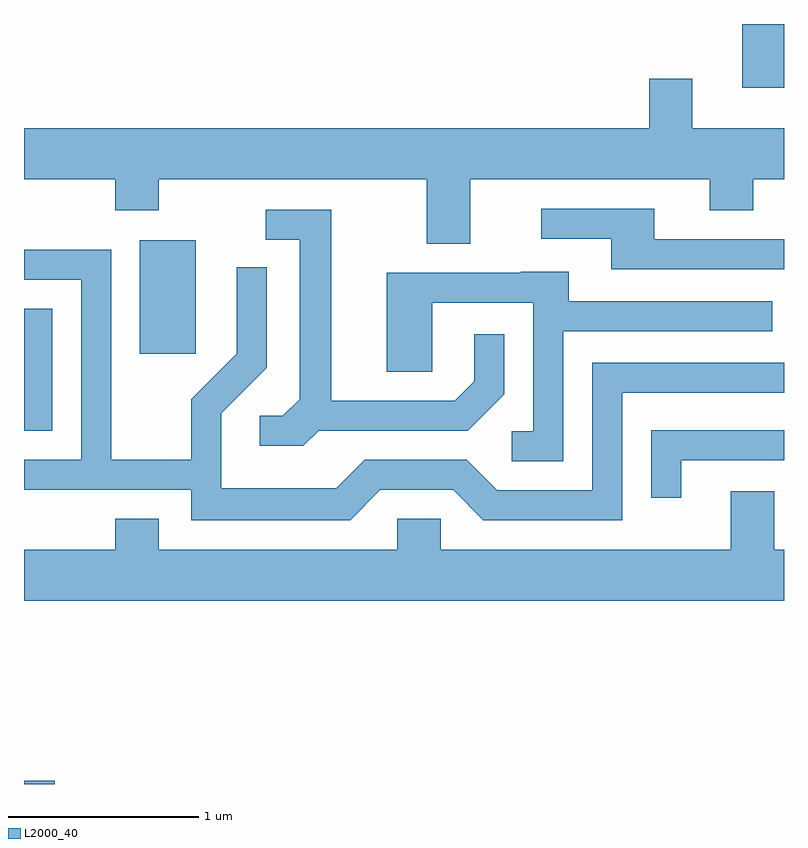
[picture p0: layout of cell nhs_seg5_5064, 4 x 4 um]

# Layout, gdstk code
import gdstk
lib = gdstk.Library(unit=1e-6, precision=1e-09)
def R(c, l, rs):  # rectangles x0, y0, x1, y1
    for r in rs: c.add(gdstk.rectangle(r[:2], r[2:], *l))
def P(c, l, *ps):  # polygons
    for p in ps: c.add(gdstk.Polygon(p, *l))
L2000_40 = (2000, 40)

nhs_seg5_5064 = lib.new_cell('nhs_seg5_5064')
R(nhs_seg5_5064, L2000_40, [(335.611,1438.072,335.774,1438.089), (335.611,1439.931,335.759,1440.574), (336.221,1440.336,336.514,1440.934), (339.391,1441.736,339.611,1442.072)])
P(nhs_seg5_5064, L2000_40, [(337.959,1441.256),(339.221,1441.256),(339.221,1441.091),(339.449,1441.091),(339.449,1441.256),(339.611,1441.256),(339.611,1441.524),(339.129,1441.524),(339.129,1441.784),(338.901,1441.784),(338.901,1441.524),(335.611,1441.524),(335.611,1441.256),(336.091,1441.256),(336.091,1441.091),(336.319,1441.091),(336.319,1441.256),(337.731,1441.256),(337.731,1440.916),(337.959,1440.916)],
  [(339.611,1440.939),(338.929,1440.939),(338.929,1441.099),(338.333,1441.099),(338.333,1440.941),(338.701,1440.941),(338.701,1440.781),(339.611,1440.781)],
  [(337.162,1439.931),(337.947,1439.931),(338.139,1440.124),(338.139,1440.438),(337.981,1440.438),(337.981,1440.192),(337.879,1440.089),(337.229,1440.089),(337.229,1441.094),(336.883,1441.094),(336.883,1440.936),(337.061,1440.936),(337.061,1440.097),(336.974,1440.009),(336.853,1440.009),(336.853,1439.851),(337.082,1439.851)],
  [(337.487,1439.621),(337.869,1439.621),(338.029,1439.461),(338.759,1439.461),(338.759,1440.131),(339.611,1440.131),(339.611,1440.289),(338.601,1440.289),(338.601,1439.619),(338.102,1439.619),(337.942,1439.779),(337.404,1439.779),(337.254,1439.629),(336.649,1439.629),(336.649,1440.024),(336.889,1440.264),(336.889,1440.793),(336.731,1440.793),(336.731,1440.337),(336.491,1440.097),(336.491,1439.779),(336.069,1439.779),(336.069,1440.884),(335.611,1440.884),(335.611,1440.726),(335.911,1440.726),(335.911,1439.779),(335.611,1439.779),(335.611,1439.621),(336.491,1439.621),(336.491,1439.461),(337.327,1439.461)],
  [(338.449,1440.456),(339.548,1440.456),(339.548,1440.614),(338.479,1440.614),(338.479,1440.769),(338.225,1440.769),(338.225,1440.764),(337.521,1440.764),(337.521,1440.241),(337.759,1440.241),(337.759,1440.606),(338.291,1440.606),(338.291,1439.929),(338.178,1439.929),(338.178,1439.771),(338.449,1439.771)],
  [(339.069,1439.776),(339.611,1439.776),(339.611,1439.934),(338.911,1439.934),(338.911,1439.578),(339.069,1439.578)],
  [(339.611,1439.304),(339.559,1439.304),(339.559,1439.614),(339.331,1439.614),(339.331,1439.304),(337.804,1439.304),(337.804,1439.469),(337.576,1439.469),(337.576,1439.304),(336.319,1439.304),(336.319,1439.469),(336.091,1439.469),(336.091,1439.304),(335.611,1439.304),(335.611,1439.036),(339.611,1439.036)])

lib.write_gds('nhs_seg5_5064.gds')
